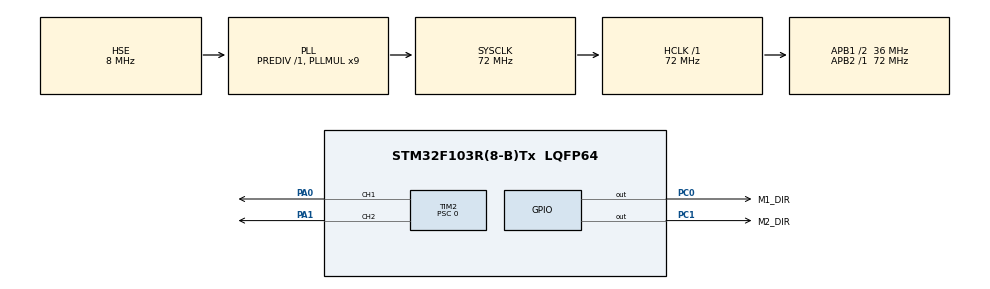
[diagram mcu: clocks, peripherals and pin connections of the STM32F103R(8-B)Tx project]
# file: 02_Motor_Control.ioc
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Mcu.Family=STM32F1
Mcu.Name=STM32F103R(8-B)Tx
Mcu.Package=LQFP64
NVIC.PriorityGroup=NVIC_PRIORITYGROUP_4
PA0-WKUP.Signal=S_TIM2_CH1_ETR
PA1.Signal=S_TIM2_CH2
PA13.Mode=Serial_Wire
PA13.Signal=SYS_JTMS-SWDIO
PA14.Mode=Serial_Wire
PA14.Signal=SYS_JTCK-SWCLK
PC0.GPIO_Label=M1_DIR
PC0.Signal=GPIO_Output
PC1.GPIO_Label=M2_DIR
PC1.Signal=GPIO_Output
PD0-OSC_IN.Mode=HSE-External-Oscillator
PD0-OSC_IN.Signal=RCC_OSC_IN
PD1-OSC_OUT.Mode=HSE-External-Oscillator
PD1-OSC_OUT.Signal=RCC_OSC_OUT
ProjectManager.HeapSize=0x200
ProjectManager.StackSize=0x400
ProjectManager.TargetToolchain=STM32CubeIDE
RCC.AHBFreq_Value=72000000
RCC.APB1CLKDivider=RCC_HCLK_DIV2
RCC.APB1Freq_Value=36000000
RCC.APB1TimFreq_Value=72000000
RCC.APB2Freq_Value=72000000
RCC.APB2TimFreq_Value=72000000
RCC.HCLKFreq_Value=72000000
RCC.PLLMUL=RCC_PLL_MUL9
RCC.PLLSourceVirtual=RCC_PLLSOURCE_HSE
RCC.SYSCLKFreq_VALUE=72000000
RCC.SYSCLKSource=RCC_SYSCLKSOURCE_PLLCLK
RCC.USBFreq_Value=72000000
SH.S_TIM2_CH1_ETR.0=TIM2_CH1,PWM Generation1 CH1
SH.S_TIM2_CH2.0=TIM2_CH2,PWM Generation2 CH2
TIM2.Channel-PWM\ Generation1\ CH1=TIM_CHANNEL_1
TIM2.Channel-PWM\ Generation2\ CH2=TIM_CHANNEL_2
TIM2.Period=3600-1
TIM2.Prescaler=0
board=custom

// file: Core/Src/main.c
/* USER CODE BEGIN Header */
/**
  ******************************************************************************
  * @file           : main.c
  * @brief          : Main program body
  ******************************************************************************
  * @attention
  *
  * Copyright (c) 2025 STMicroelectronics.
  * All rights reserved.
  *
  * This software is licensed under terms that can be found in the LICENSE file
  * in the root directory of this software component.
  * If no LICENSE file comes with this software, it is provided AS-IS.
  *
  ******************************************************************************
  */
/* USER CODE END Header */
#include "main.h"

TIM_HandleTypeDef htim2;

/* USER CODE BEGIN PV */
int16_t mode = 0;

/* USER CODE END PV */

void SystemClock_Config(void);
static void MX_GPIO_Init(void);
static void MX_TIM2_Init(void);

int main(void)
{

  /* MCU Configuration--------------------------------------------------------*/

  /* Reset of all peripherals, Initializes the Flash interface and the Systick. */
   HAL_Init();

  /* Configure the system clock */
  SystemClock_Config();

  /* Initialize all configured peripherals */
  MX_GPIO_Init();
  MX_TIM2_Init();
  /* USER CODE BEGIN 2 */

  HAL_TIM_PWM_Start(&htim2, TIM_CHANNEL_1);
  HAL_TIM_PWM_Start(&htim2, TIM_CHANNEL_2);

  /* USER CODE END 2 */

  /* Infinite loop */
  while (1)
  {

    /* USER CODE BEGIN 3 */

	  if (mode == 0) { // 0. 중지
		  motor1_control(0);
		  motor2_control(0);
	  } else if (mode == 1) { // 1. 정주행
		  motor1_control(1800);
		  motor2_control(1800);
	  } else if (mode == 2) { // 2. 역주행
		  motor1_control(-1800);
		  motor2_control(-1800);
	  } else if (mode == 3) { // 3. 우회전
		  motor1_control(-1800);
		  motor2_control(1800);
	  } else if (mode == 4) { // 4. 좌회전
		  motor1_control(1800);
		  motor2_control(-1800);
	  }
  }
  /* USER CODE END 3 */
}

void SystemClock_Config(void)
{
  RCC_OscInitTypeDef RCC_OscInitStruct = {0};
  RCC_ClkInitTypeDef RCC_ClkInitStruct = {0};

  /** Initializes the RCC Oscillators according to the specified parameters
  * in the RCC_OscInitTypeDef structure.
  */
  RCC_OscInitStruct.OscillatorType = RCC_OSCILLATORTYPE_HSE;
  RCC_OscInitStruct.HSEState = RCC_HSE_ON;
  RCC_OscInitStruct.HSEPredivValue = RCC_HSE_PREDIV_DIV1;
  RCC_OscInitStruct.HSIState = RCC_HSI_ON;
  RCC_OscInitStruct.PLL.PLLState = RCC_PLL_ON;
  RCC_OscInitStruct.PLL.PLLSource = RCC_PLLSOURCE_HSE;
  RCC_OscInitStruct.PLL.PLLMUL = RCC_PLL_MUL9;
  if (HAL_RCC_OscConfig(&RCC_OscInitStruct) != HAL_OK)
  {
    Error_Handler();
  }

  /** Initializes the CPU, AHB and APB buses clocks
  */
  RCC_ClkInitStruct.ClockType = RCC_CLOCKTYPE_HCLK|RCC_CLOCKTYPE_SYSCLK
                              |RCC_CLOCKTYPE_PCLK1|RCC_CLOCKTYPE_PCLK2;
  RCC_ClkInitStruct.SYSCLKSource = RCC_SYSCLKSOURCE_PLLCLK;
  RCC_ClkInitStruct.AHBCLKDivider = RCC_SYSCLK_DIV1;
  RCC_ClkInitStruct.APB1CLKDivider = RCC_HCLK_DIV2;
  RCC_ClkInitStruct.APB2CLKDivider = RCC_HCLK_DIV1;

  if (HAL_RCC_ClockConfig(&RCC_ClkInitStruct, FLASH_LATENCY_2) != HAL_OK)
  {
    Error_Handler();
  }
}

static void MX_TIM2_Init(void)
{

  TIM_MasterConfigTypeDef sMasterConfig = {0};
  TIM_OC_InitTypeDef sConfigOC = {0};

  htim2.Instance = TIM2;
  htim2.Init.Prescaler = 0;
  htim2.Init.CounterMode = TIM_COUNTERMODE_UP;
  htim2.Init.Period = 3600-1;
  htim2.Init.ClockDivision = TIM_CLOCKDIVISION_DIV1;
  htim2.Init.AutoReloadPreload = TIM_AUTORELOAD_PRELOAD_DISABLE;
  if (HAL_TIM_PWM_Init(&htim2) != HAL_OK)
  {
    Error_Handler();
  }
  sMasterConfig.MasterOutputTrigger = TIM_TRGO_RESET;
  sMasterConfig.MasterSlaveMode = TIM_MASTERSLAVEMODE_DISABLE;
  if (HAL_TIMEx_MasterConfigSynchronization(&htim2, &sMasterConfig) != HAL_OK)
  {
    Error_Handler();
  }
  sConfigOC.OCMode = TIM_OCMODE_PWM1;
  sConfigOC.Pulse = 0;
  sConfigOC.OCPolarity = TIM_OCPOLARITY_HIGH;
  sConfigOC.OCFastMode = TIM_OCFAST_DISABLE;
  if (HAL_TIM_PWM_ConfigChannel(&htim2, &sConfigOC, TIM_CHANNEL_1) != HAL_OK)
  {
    Error_Handler();
  }
  if (HAL_TIM_PWM_ConfigChannel(&htim2, &sConfigOC, TIM_CHANNEL_2) != HAL_OK)
  {
    Error_Handler();
  }
  HAL_TIM_MspPostInit(&htim2);

}

static void MX_GPIO_Init(void)
{
  GPIO_InitTypeDef GPIO_InitStruct = {0};

  /* GPIO Ports Clock Enable */
  __HAL_RCC_GPIOD_CLK_ENABLE();
  __HAL_RCC_GPIOC_CLK_ENABLE();
  __HAL_RCC_GPIOA_CLK_ENABLE();

  /*Configure GPIO pin Output Level */
  HAL_GPIO_WritePin(GPIOC, M1_DIR_Pin|M2_DIR_Pin, GPIO_PIN_RESET);

  /*Configure GPIO pins : M1_DIR_Pin M2_DIR_Pin */
  GPIO_InitStruct.Pin = M1_DIR_Pin|M2_DIR_Pin;
  GPIO_InitStruct.Mode = GPIO_MODE_OUTPUT_PP;
  GPIO_InitStruct.Pull = GPIO_NOPULL;
  GPIO_InitStruct.Speed = GPIO_SPEED_FREQ_LOW;
  HAL_GPIO_Init(GPIOC, &GPIO_InitStruct);

}

/* USER CODE BEGIN 4 */
void motor1_control(int speed)
{
  if (speed >= 0)
  {
    // SET으로 설정
    HAL_GPIO_WritePin(M1_DIR_GPIO_Port, M1_DIR_Pin, GPIO_PIN_SET);
    // Duty Cycle 설정
    __HAL_TIM_SET_COMPARE(&htim2, TIM_CHANNEL_1, speed); // 1. HAL 라이브러리로 구현
    TIM2->CCR1 = speed; // 2. 레지스터 참조로 구현
  } else {
    // RESET으로 설정
    HAL_GPIO_WritePin(M1_DIR_GPIO_Port, M1_DIR_Pin, GPIO_PIN_RESET);
    // Duty Cycle 설정
//    __HAL_TIM_SET_COMPARE(&htim2, TIM_CHANNEL_1, -speed);
    TIM2->CCR1 = -speed; // 2. 레지스터 참조로 구현
  }
}

void motor2_control(int speed)
{
  if (speed >= 0)
  {
    // SET으로 설정
    HAL_GPIO_WritePin(M2_DIR_GPIO_Port, M2_DIR_Pin, GPIO_PIN_SET);
    // Duty Cycle 설정
//    __HAL_TIM_SET_COMPARE(&htim2, TIM_CHANNEL_2, speed);
    TIM2->CCR2 = speed; // 2. 레지스터 참조로 구현
  } else  {
    // RESET으로 설정
    HAL_GPIO_WritePin(M2_DIR_GPIO_Port, M2_DIR_Pin, GPIO_PIN_RESET);
    // Duty Cycle 설정
//    __HAL_TIM_SET_COMPARE(&htim2, TIM_CHANNEL_2, -speed);
    TIM2->CCR2 = -speed; // 2. 레지스터 참조로 구현
  }
}
/* USER CODE END 4 */

void Error_Handler(void)
{
  __disable_irq();
  while (1)
  {
  }
}
